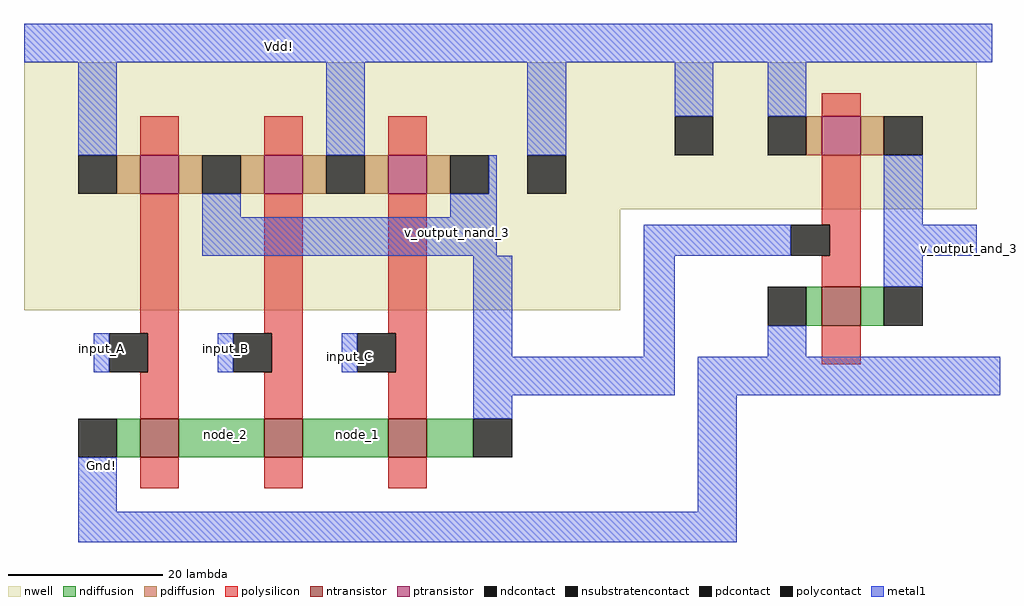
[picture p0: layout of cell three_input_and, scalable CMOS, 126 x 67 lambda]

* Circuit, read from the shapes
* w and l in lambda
.subckt three_input_and Gnd! Vdd! input_A input_B input_C node_1 node_2 v_output_and_3 v_output_nand_3
M1 node_2 input_A Gnd! VSUBS nfet w=5 l=5
M2 node_1 input_B node_2 VSUBS nfet w=5 l=5
M3 v_output_nand_3 input_C node_1 VSUBS nfet w=5 l=5
M4 v_output_and_3 v_output_nand_3 Gnd! VSUBS nfet w=5 l=5
M5 v_output_nand_3 input_A Vdd! Vdd! pfet w=5 l=5
M6 Vdd! input_B v_output_nand_3 Vdd! pfet w=5 l=5
M7 v_output_nand_3 input_C Vdd! Vdd! pfet w=5 l=5
M8 v_output_and_3 v_output_nand_3 Vdd! Vdd! pfet w=5 l=5
.ends

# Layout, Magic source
magic
tech scmos
<< nwell >>
rect -35 -6 42 26
<< ntransistor >>
rect -20 -25 -15 -20
rect -4 -25 1 -20
rect 12 -25 17 -20
<< ptransistor >>
rect -20 9 -15 14
rect -4 9 1 14
rect 12 9 17 14
<< ndiffusion >>
rect -23 -25 -20 -20
rect -15 -25 -4 -20
rect 1 -25 12 -20
rect 17 -25 23 -20
<< pdiffusion >>
rect -23 9 -20 14
rect -15 9 -12 14
rect -7 9 -4 14
rect 1 9 4 14
rect 9 9 12 14
rect 17 9 20 14
<< ndcontact >>
rect -28 -25 -23 -20
rect 23 -25 28 -20
<< pdcontact >>
rect -28 9 -23 14
rect -12 9 -7 14
rect 4 9 9 14
rect 20 9 25 14
<< nsubstratencontact >>
rect 30 9 35 14
<< polysilicon >>
rect -20 14 -15 19
rect -4 14 1 19
rect 12 14 17 19
rect -20 -9 -15 9
rect -4 -9 1 9
rect 12 -9 17 9
rect -19 -14 -15 -9
rect -3 -14 1 -9
rect 13 -14 17 -9
rect -20 -20 -15 -14
rect -4 -20 1 -14
rect 12 -20 17 -14
rect -20 -29 -15 -25
rect -4 -29 1 -25
rect 12 -29 17 -25
<< polycontact >>
rect -24 -14 -19 -9
rect -8 -14 -3 -9
rect 8 -14 13 -9
<< metal1 >>
rect -35 26 42 31
rect -28 14 -23 26
rect 4 14 9 26
rect 30 14 35 26
rect 25 9 26 14
rect -12 6 -7 9
rect 20 6 26 9
rect -12 1 26 6
rect 45 1 60 5
rect 83 1 88 5
rect -26 -14 -24 -9
rect -10 -14 -8 -9
rect 6 -14 8 -9
rect 23 -12 28 1
rect 45 -12 49 1
rect 23 -17 49 -12
rect 23 -20 28 -17
rect -28 -32 -23 -25
rect 52 -32 57 -12
rect -28 -36 57 -32
use not_without_labels  not_without_labels_0
transform 1 0 58 0 1 -5
box -16 -12 33 36
<< labels >>
rlabel metal1 -25 -11 -25 -11 1 input_A
rlabel metal1 -9 -11 -9 -11 1 input_B
rlabel metal1 7 -12 7 -12 1 input_C
rlabel ndiffusion 8 -22 8 -22 1 node_1
rlabel ndiffusion -9 -22 -9 -22 1 node_2
rlabel metal1 21 4 21 4 1 v_output_nand_3
rlabel metal1 -2 28 -2 28 5 Vdd!
rlabel metal1 -25 -26 -25 -26 1 Gnd!
rlabel metal1 87 2 87 2 7 v_output_and_3
<< end >>

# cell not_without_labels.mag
magic
tech scmos
<< nwell >>
rect -16 12 30 31
<< ntransistor >>
rect 10 -3 15 2
<< ptransistor >>
rect 10 19 15 24
<< ndiffusion >>
rect 8 -3 10 2
rect 15 -3 18 2
<< pdiffusion >>
rect 8 19 10 24
rect 15 19 18 24
<< ndcontact >>
rect 3 -3 8 2
rect 18 -3 23 2
<< pdcontact >>
rect 3 19 8 24
rect 18 19 23 24
<< nsubstratencontact >>
rect -9 19 -4 24
<< polysilicon >>
rect 10 24 15 27
rect 10 10 15 19
rect 11 6 15 10
rect 10 2 15 6
rect 10 -8 15 -3
<< polycontact >>
rect 6 6 11 10
<< metal1 >>
rect -16 31 32 36
rect -9 24 -4 31
rect 3 24 8 31
rect 18 10 23 19
rect 2 6 6 10
rect 18 6 26 10
rect 18 2 23 6
rect 3 -7 8 -3
rect -6 -12 33 -7
<< end >>
